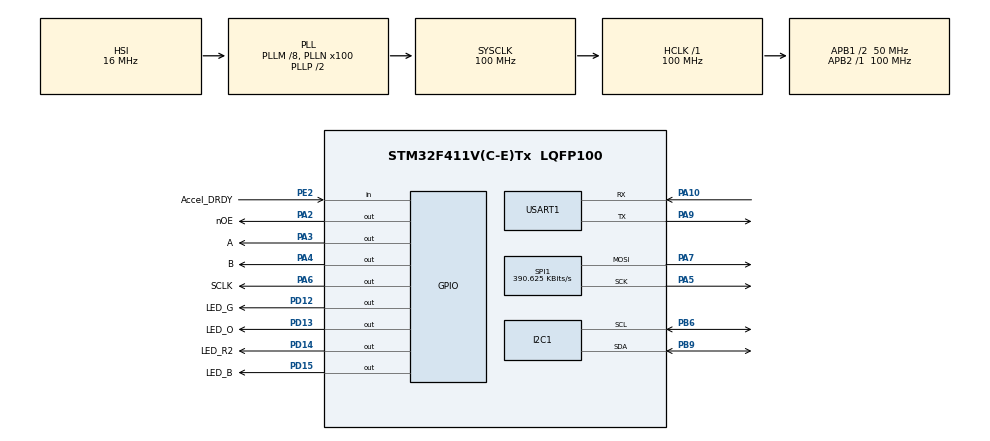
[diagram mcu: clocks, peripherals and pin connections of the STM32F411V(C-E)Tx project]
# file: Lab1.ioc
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Mcu.Family=STM32F4
Mcu.Name=STM32F411V(C-E)Tx
Mcu.Package=LQFP100
NVIC.PriorityGroup=NVIC_PRIORITYGROUP_4
NVIC.TIM1_UP_TIM10_IRQn=true\:0\:0\:false\:false\:true\:true\:true\:true
PA10.Mode=Asynchronous
PA10.Signal=USART1_RX
PA13.Mode=Serial_Wire
PA13.Signal=SYS_JTMS-SWDIO
PA14.Mode=Serial_Wire
PA14.Signal=SYS_JTCK-SWCLK
PA2.GPIO_Label=nOE
PA2.Signal=GPIO_Output
PA3.GPIO_Label=A
PA3.Signal=GPIO_Output
PA4.GPIO_Label=B
PA4.Signal=GPIO_Output
PA5.Mode=TX_Only_Simplex_Unidirect_Master
PA5.Signal=SPI1_SCK
PA6.GPIO_Label=SCLK
PA6.Signal=GPIO_Output
PA7.Mode=TX_Only_Simplex_Unidirect_Master
PA7.Signal=SPI1_MOSI
PA9.Mode=Asynchronous
PA9.Signal=USART1_TX
PB6.Mode=I2C
PB6.Signal=I2C1_SCL
PB9.Mode=I2C
PB9.Signal=I2C1_SDA
PD12.GPIO_Label=LED_G
PD12.GPIO_PuPd=GPIO_PULLDOWN
PD12.Signal=GPIO_Output
PD13.GPIO_Label=LED_O
PD13.GPIO_PuPd=GPIO_PULLDOWN
PD13.Signal=GPIO_Output
PD14.GPIO_Label=LED_R2
PD14.GPIO_PuPd=GPIO_PULLDOWN
PD14.Signal=GPIO_Output
PD15.GPIO_Label=LED_B
PD15.GPIO_PuPd=GPIO_PULLDOWN
PD15.Signal=GPIO_Output
PE2.GPIO_Label=Accel_DRDY
PE2.Signal=GPIO_Input
PH0\ -\ OSC_IN.Mode=HSE-External-Oscillator
PH0\ -\ OSC_IN.Signal=RCC_OSC_IN
PH1\ -\ OSC_OUT.Mode=HSE-External-Oscillator
PH1\ -\ OSC_OUT.Signal=RCC_OSC_OUT
ProjectManager.HeapSize=0x200
ProjectManager.StackSize=0x400
ProjectManager.TargetToolchain=STM32CubeIDE
RCC.48MHZClocksFreq_Value=50000000
RCC.AHBFreq_Value=100000000
RCC.APB1CLKDivider=RCC_HCLK_DIV2
RCC.APB1Freq_Value=50000000
RCC.APB1TimFreq_Value=100000000
RCC.APB2Freq_Value=100000000
RCC.APB2TimFreq_Value=100000000
RCC.CortexFreq_Value=100000000
RCC.HCLKFreq_Value=100000000
RCC.HSE_VALUE=25000000
RCC.HSI_VALUE=16000000
RCC.LSE_VALUE=32768
RCC.PLLM=8
RCC.PLLN=100
RCC.SYSCLKFreq_VALUE=100000000
RCC.SYSCLKSource=RCC_SYSCLKSOURCE_PLLCLK
RCC.VCOOutputFreq_Value=200000000
SPI1.BaudRatePrescaler=SPI_BAUDRATEPRESCALER_256
SPI1.CalculateBaudRate=390.625 KBits/s
SPI1.Direction=SPI_DIRECTION_2LINES
SPI1.Mode=SPI_MODE_MASTER
SPI1.VirtualType=VM_MASTER
TIM1.Channel-Output\ Compare1\ No\ Output=TIM_CHANNEL_1
TIM1.Period=50000
TIM1.Prescaler=5
USART1.VirtualMode=VM_ASYNC
VP_TIM1_VS_no_output1.Mode=Output Compare1 No Output
board=custom

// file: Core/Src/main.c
/* USER CODE BEGIN Header */
/**
 ******************************************************************************
 * @file           : main.c
 * @brief          : Main program body
 ******************************************************************************
 * @attention
 *
 * Copyright (c) 2023 STMicroelectronics.
 * All rights reserved.
 *
 * This software is licensed under terms that can be found in the LICENSE file
 * in the root directory of this software component.
 * If no LICENSE file comes with this software, it is provided AS-IS.
 *
 ******************************************************************************
 */
/* USER CODE END Header */
#include "main.h"
#include "i2c.h"
#include "spi.h"
#include "tim.h"
#include "usart.h"
#include "gpio.h"

/* USER CODE BEGIN Includes */
#include "lsm303dlhc.h"
#include "mainLogic.h"
#include "math.h"
#include "disp1color.h"
/* USER CODE END Includes */

/* USER CODE BEGIN PV */
extern volatile int16_t x_acc;
extern volatile int16_t y_acc;
extern volatile int16_t z_acc;
volatile point anchor = { 3, 7 };
volatile point weight = { 29.0, 7.0 };
volatile float angle = 1.0;
float angleFiltred = 0.0;
float RopeLength = 25;
volatile uint16_t i = 0;
extern uint8_t data1[16], data2[16], data3[16], data4[16];

float k = 0.1;  // коэффициент фильтрации, 0.0-1.0
/* USER CODE END PV */

void SystemClock_Config(void);

/* USER CODE BEGIN 0 */
void disp_row(int row) {
	if (row == 0) {
		HAL_SPI_Transmit(&hspi1, data1, 16, 10);
		while (HAL_SPI_GetState(&hspi1) != HAL_SPI_STATE_READY) {
		}

		HAL_GPIO_WritePin(SCLK_GPIO_Port, SCLK_Pin, GPIO_PIN_RESET);
		HAL_GPIO_WritePin(SCLK_GPIO_Port, SCLK_Pin, GPIO_PIN_SET);

		HAL_GPIO_WritePin(A_GPIO_Port, A_Pin, GPIO_PIN_RESET);
		HAL_GPIO_WritePin(B_GPIO_Port, B_Pin, GPIO_PIN_RESET);
	}
	if (row == 1) {
		HAL_SPI_Transmit(&hspi1, data2, 16, 10);
		while (HAL_SPI_GetState(&hspi1) != HAL_SPI_STATE_READY) {
		}

		HAL_GPIO_WritePin(SCLK_GPIO_Port, SCLK_Pin, GPIO_PIN_RESET);
		HAL_GPIO_WritePin(SCLK_GPIO_Port, SCLK_Pin, GPIO_PIN_SET);

		HAL_GPIO_WritePin(A_GPIO_Port, A_Pin, GPIO_PIN_SET);
		HAL_GPIO_WritePin(B_GPIO_Port, B_Pin, GPIO_PIN_RESET);
	}

	if (row == 2) {
		HAL_SPI_Transmit(&hspi1, data3, 16, 10);
		while (HAL_SPI_GetState(&hspi1) != HAL_SPI_STATE_READY) {
		}

		HAL_GPIO_WritePin(SCLK_GPIO_Port, SCLK_Pin, GPIO_PIN_RESET);
		HAL_GPIO_WritePin(SCLK_GPIO_Port, SCLK_Pin, GPIO_PIN_SET);

		HAL_GPIO_WritePin(A_GPIO_Port, A_Pin, GPIO_PIN_RESET);
		HAL_GPIO_WritePin(B_GPIO_Port, B_Pin, GPIO_PIN_SET);
	}

	if (row == 3) {
		HAL_SPI_Transmit(&hspi1, data4, 16, 10);
		while (HAL_SPI_GetState(&hspi1) != HAL_SPI_STATE_READY) {
		}

		HAL_GPIO_WritePin(SCLK_GPIO_Port, SCLK_Pin, GPIO_PIN_RESET);
		HAL_GPIO_WritePin(SCLK_GPIO_Port, SCLK_Pin, GPIO_PIN_SET);
		HAL_GPIO_WritePin(A_GPIO_Port, A_Pin, GPIO_PIN_SET);
		HAL_GPIO_WritePin(B_GPIO_Port, B_Pin, GPIO_PIN_SET);
	}
}

// бегущее среднее
float expRunningAverage(float newVal) {
  static float filVal = 0;
  filVal += (newVal - filVal) * k;
  return filVal;
}
/* USER CODE END 0 */

int main(void) {

	/* MCU Configuration--------------------------------------------------------*/

	/* Reset of all peripherals, Initializes the Flash interface and the Systick. */
	HAL_Init();

	/* Configure the system clock */
	SystemClock_Config();

	/* Initialize all configured peripherals */
	MX_GPIO_Init();
	MX_I2C1_Init();
	MX_USART1_UART_Init();
	MX_SPI1_Init();
	MX_TIM1_Init();
	/* USER CODE BEGIN 2 */
	Accel_Ini();
	HAL_TIM_Base_Start_IT(&htim1);
	HAL_GPIO_WritePin(nOE_GPIO_Port, nOE_Pin, 0);
	HAL_GPIO_WritePin(nOE_GPIO_Port, nOE_Pin, 1);

	/* USER CODE END 2 */

	/* Infinite loop */
	/* USER CODE BEGIN WHILE */
	while (1) {
		Accel_ReadAcc();
		AccConstrain();
		angle = weightCoordinatesCalc();
		angleFiltred = expRunningAverage(angle);
		weight.x = RopeLength * cos(angleFiltred);
		weight.y = RopeLength * sin(angleFiltred) + 7;

		disp1color_FillScreenbuff(0);
		disp1color_DrawPixel((int) anchor.x, (int) anchor.y, 1);
		disp1color_DrawPixel((int) weight.x, (int) weight.y, 1);
		disp1color_DrawLine((int) anchor.x, (int) anchor.y, (int) weight.x,
				(int) weight.y);
		disp1color_DrawCircle((int) weight.x, (int) weight.y, 2);

		disp1color_UpdateFromBuff(); //Перевод рассчитанных данных в массив
		prepare_data(); //Разбиение массива на массивы под каждую строку

		disp_row(0);
		disp_row(1);
		disp_row(2);
		disp_row(3);

		/* USER CODE END WHILE */

	}
}

void SystemClock_Config(void) {
	RCC_OscInitTypeDef RCC_OscInitStruct = { 0 };
	RCC_ClkInitTypeDef RCC_ClkInitStruct = { 0 };

	/** Configure the main internal regulator output voltage
	 */
	__HAL_RCC_PWR_CLK_ENABLE();
	__HAL_PWR_VOLTAGESCALING_CONFIG(PWR_REGULATOR_VOLTAGE_SCALE1);

	/** Initializes the RCC Oscillators according to the specified parameters
	 * in the RCC_OscInitTypeDef structure.
	 */
	RCC_OscInitStruct.OscillatorType = RCC_OSCILLATORTYPE_HSI;
	RCC_OscInitStruct.HSIState = RCC_HSI_ON;
	RCC_OscInitStruct.HSICalibrationValue = RCC_HSICALIBRATION_DEFAULT;
	RCC_OscInitStruct.PLL.PLLState = RCC_PLL_ON;
	RCC_OscInitStruct.PLL.PLLSource = RCC_PLLSOURCE_HSI;
	RCC_OscInitStruct.PLL.PLLM = 8;
	RCC_OscInitStruct.PLL.PLLN = 100;
	RCC_OscInitStruct.PLL.PLLP = RCC_PLLP_DIV2;
	RCC_OscInitStruct.PLL.PLLQ = 4;
	if (HAL_RCC_OscConfig(&RCC_OscInitStruct) != HAL_OK) {
		Error_Handler();
	}

	/** Initializes the CPU, AHB and APB buses clocks
	 */
	RCC_ClkInitStruct.ClockType = RCC_CLOCKTYPE_HCLK | RCC_CLOCKTYPE_SYSCLK
			| RCC_CLOCKTYPE_PCLK1 | RCC_CLOCKTYPE_PCLK2;
	RCC_ClkInitStruct.SYSCLKSource = RCC_SYSCLKSOURCE_PLLCLK;
	RCC_ClkInitStruct.AHBCLKDivider = RCC_SYSCLK_DIV1;
	RCC_ClkInitStruct.APB1CLKDivider = RCC_HCLK_DIV2;
	RCC_ClkInitStruct.APB2CLKDivider = RCC_HCLK_DIV1;

	if (HAL_RCC_ClockConfig(&RCC_ClkInitStruct, FLASH_LATENCY_3) != HAL_OK) {
		Error_Handler();
	}
}

void Error_Handler(void) {
	__disable_irq();
	while (1) {
	}
}
